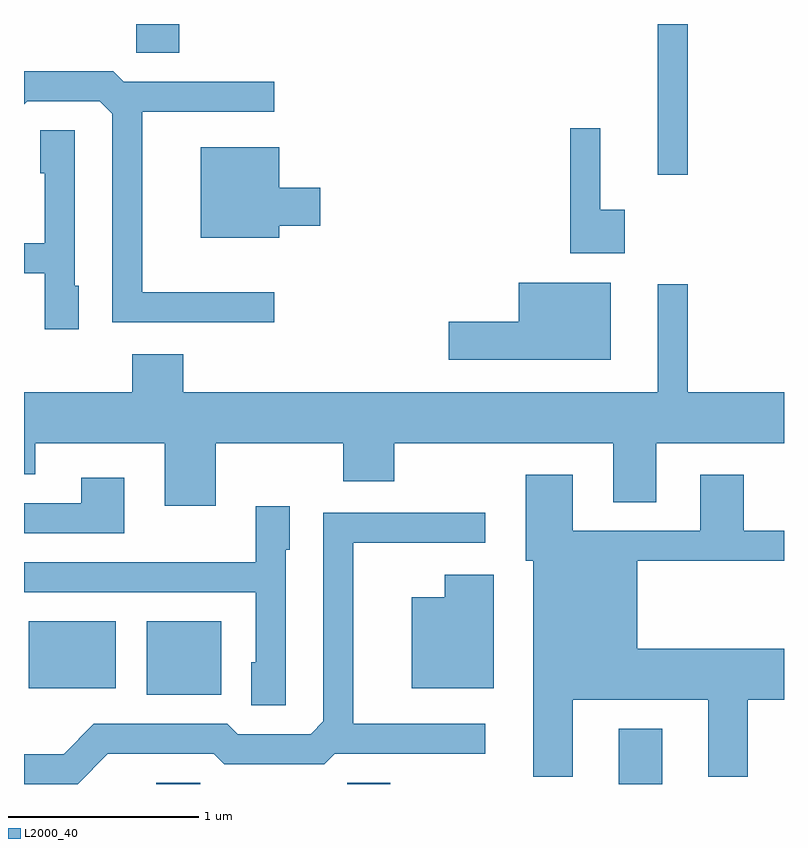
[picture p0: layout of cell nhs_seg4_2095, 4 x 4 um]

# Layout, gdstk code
import gdstk
lib = gdstk.Library(unit=1e-6, precision=1e-09)
def R(c, l, rs):  # rectangles x0, y0, x1, y1
    for r in rs: c.add(gdstk.rectangle(r[:2], r[2:], *l))
def P(c, l, *ps):  # polygons
    for p in ps: c.add(gdstk.Polygon(p, *l))
L2000_40 = (2000, 40)

nhs_seg4_2095 = lib.new_cell('nhs_seg4_2095')
R(nhs_seg4_2095, L2000_40, [(246.306,1363.982,246.539,1363.989), (247.311,1363.982,247.539,1363.989), (248.741,1363.982,248.969,1364.274), (246.256,1364.451,246.649,1364.839), (245.636,1364.486,246.094,1364.839), (248.946,1367.188,249.104,1367.982), (246.201,1367.831,246.429,1367.982)])
P(nhs_seg4_2095, L2000_40, [(246.928,1366.569),(246.234,1366.569),(246.234,1367.521),(246.928,1367.521),(246.928,1367.679),(246.137,1367.679),(246.082,1367.734),(245.611,1367.734),(245.611,1367.56),(245.627,1367.576),(246.009,1367.576),(246.076,1367.509),(246.076,1366.411),(246.928,1366.411)],
  [(248.774,1367.004),(248.644,1367.004),(248.644,1367.433),(248.486,1367.433),(248.486,1366.776),(248.774,1366.776)],
  [(245.899,1366.604),(245.879,1366.604),(245.879,1367.424),(245.696,1367.424),(245.696,1367.196),(245.721,1367.196),(245.721,1366.829),(245.611,1366.829),(245.611,1366.671),(245.721,1366.671),(245.721,1366.376),(245.899,1366.376)],
  [(246.954,1366.921),(247.169,1366.921),(247.169,1367.119),(246.954,1367.119),(246.954,1367.334),(246.541,1367.334),(246.541,1366.856),(246.954,1366.856)],
  [(248.699,1366.619),(248.216,1366.619),(248.216,1366.414),(247.846,1366.414),(247.846,1366.216),(248.699,1366.216)],
  [(246.619,1365.776),(247.291,1365.776),(247.291,1365.576),(247.559,1365.576),(247.559,1365.776),(248.711,1365.776),(248.711,1365.466),(248.939,1365.466),(248.939,1365.776),(249.611,1365.776),(249.611,1366.044),(249.104,1366.044),(249.104,1366.613),(248.946,1366.613),(248.946,1366.044),(246.449,1366.044),(246.449,1366.244),(246.181,1366.244),(246.181,1366.044),(245.611,1366.044),(245.611,1365.611),(245.669,1365.611),(245.669,1365.776),(246.351,1365.776),(246.351,1365.446),(246.619,1365.446)],
  [(248.499,1364.426),(249.211,1364.426),(249.211,1364.021),(249.419,1364.021),(249.419,1364.426),(249.611,1364.426),(249.611,1364.694),(248.839,1364.694),(248.839,1365.156),(249.611,1365.156),(249.611,1365.314),(249.399,1365.314),(249.399,1365.609),(249.171,1365.609),(249.171,1365.314),(248.499,1365.314),(248.499,1365.609),(248.251,1365.609),(248.251,1365.156),(248.291,1365.156),(248.291,1364.021),(248.499,1364.021)],
  [(246.139,1365.594),(245.911,1365.594),(245.911,1365.459),(245.611,1365.459),(245.611,1365.301),(246.139,1365.301)],
  [(246.989,1365.216),(247.009,1365.216),(247.009,1365.444),(246.831,1365.444),(246.831,1365.149),(245.611,1365.149),(245.611,1364.991),(246.831,1364.991),(246.831,1364.624),(246.806,1364.624),(246.806,1364.396),(246.989,1364.396)],
  [(246.052,1364.141),(246.609,1364.141),(246.664,1364.086),(247.192,1364.086),(247.247,1364.141),(248.038,1364.141),(248.038,1364.299),(247.344,1364.299),(247.344,1365.251),(248.038,1365.251),(248.038,1365.409),(247.186,1365.409),(247.186,1364.312),(247.119,1364.244),(246.737,1364.244),(246.682,1364.299),(245.979,1364.299),(245.819,1364.139),(245.611,1364.139),(245.611,1363.982),(245.893,1363.982)],
  [(248.084,1365.084),(247.826,1365.084),(247.826,1364.964),(247.651,1364.964),(247.651,1364.486),(248.084,1364.486)])

lib.write_gds('nhs_seg4_2095.gds')
